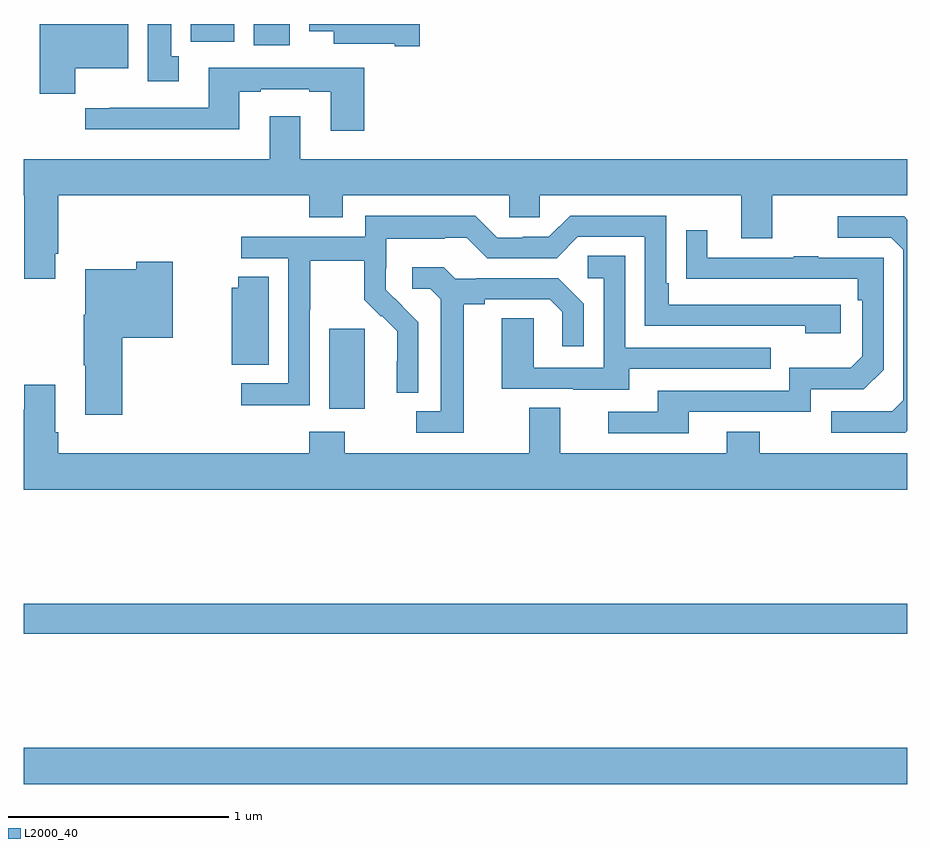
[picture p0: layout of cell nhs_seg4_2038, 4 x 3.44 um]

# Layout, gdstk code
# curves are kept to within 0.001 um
import gdstk
lib = gdstk.Library(unit=1e-6, precision=1e-09)
def R(c, l, rs):  # rectangles x0, y0, x1, y1
    for r in rs: c.add(gdstk.rectangle(r[:2], r[2:], *l))
def P(c, l, *ps):  # polygons
    for p in ps: c.add(gdstk.Polygon(p, *l))
L2000_40 = (2000, 40)

nhs_seg4_2038 = lib.new_cell('nhs_seg4_2038')
R(nhs_seg4_2038, L2000_40, [(215,823.46,219,823.624), (215,824.14,219,824.276), (216.383,825.159,216.544,825.52), (216.041,826.803,216.205,826.9), (215.756,826.82,215.953,826.9)])
P(nhs_seg4_2038, L2000_40, [(216.793,826.9),(216.293,826.9),(216.293,826.868),(216.404,826.868),(216.404,826.811),(216.68,826.811),(216.68,826.799),(216.793,826.799)],
  [(215.701,826.754),(215.668,826.754),(215.668,826.9),(215.561,826.9),(215.561,826.641),(215.701,826.641)],
  [(215.233,826.7),(215.473,826.7),(215.473,826.9),(215.072,826.9),(215.072,826.585),(215.233,826.585)],
  [(216.542,826.701),(215.837,826.701),(215.837,826.521),(215.389,826.521),(215.389,826.519),(215.28,826.519),(215.28,826.424),(215.977,826.424),(215.977,826.593),(216.073,826.593),(216.073,826.605),(216.293,826.605),(216.293,826.593),(216.389,826.593),(216.389,826.416),(216.542,826.416)],
  [(215.143,825.859),(215.156,825.859),(215.156,826.124),(216.293,826.124),(216.293,826.025),(216.445,826.025),(216.445,826.124),(217.197,826.124),(217.197,826.026),(217.335,826.026),(217.335,826.124),(218.249,826.124),(218.249,825.93),(218.389,825.93),(218.389,826.124),(219,826.124),(219,826.288),(216.253,826.288),(216.253,826.483),(216.113,826.483),(216.113,826.288),(215,826.288),(215,826.124),(215.003,826.124),(215.003,825.747),(215.143,825.747)],
  [(216.294,825.607),(216.297,825.607),(216.297,825.828),(216.541,825.828),(216.541,825.653),(216.618,825.576),(216.621,825.579),(216.692,825.509),(216.692,825.374),(216.689,825.374),(216.689,825.232),(216.786,825.232),(216.786,825.55),(216.64,825.698),(216.64,825.795),(216.642,825.795),(216.642,825.929),(216.905,825.929),(216.905,825.933),(217.005,825.933),(217.098,825.84),(217.413,825.84),(217.509,825.936),(217.812,825.936),(217.812,825.534),(218.537,825.534),(218.537,825.5),(218.698,825.5),(218.698,825.63),(217.921,825.63),(217.921,825.727),(217.908,825.727),(217.908,826.032),(217.473,826.032),(217.377,825.936),(217.259,825.936),(217.259,825.933),(217.143,825.933),(217.043,826.033),(216.546,826.033),(216.546,825.936),(215.985,825.936),(215.985,825.84),(216.198,825.84),(216.198,825.273),(215.985,825.273),(215.985,825.175),(216.294,825.175)],
  [(219,825.06),(219,826.014),(218.985,826.029),(218.685,826.029),(218.685,825.933),(218.928,825.933),(218.982,825.879),(218.982,825.198),(218.931,825.147),(218.655,825.147),(218.655,825.051),(218.991,825.051)],
  [(218.011,825.144),(218.562,825.144),(218.562,825.246),(218.802,825.246),(218.892,825.336),(218.892,825.843),(218.597,825.843),(218.597,825.848),(218.485,825.848),(218.485,825.843),(218.095,825.843),(218.095,825.967),(217.999,825.967),(217.999,825.748),(218.776,825.747),(218.776,825.65),(218.796,825.65),(218.796,825.396),(218.743,825.343),(218.466,825.343),(218.466,825.24),(217.871,825.24),(217.871,825.144),(217.647,825.144),(217.647,825.048),(218.011,825.048)],
  [(217.741,825.339),(218.381,825.339),(218.381,825.435),(217.722,825.435),(217.722,825.851),(217.554,825.851),(217.554,825.75),(217.626,825.75),(217.626,825.345),(217.308,825.345),(217.308,825.569),(217.163,825.569),(217.163,825.249),(217.487,825.249),(217.487,825.245),(217.741,825.245)],
  [(215.447,825.479),(215.674,825.479),(215.674,825.823),(215.509,825.823),(215.509,825.79),(215.279,825.79),(215.279,825.583),(215.272,825.583),(215.272,825.355),(215.279,825.355),(215.279,825.132),(215.447,825.132)],
  [(216.991,825.632),(217.087,825.632),(217.087,825.654),(217.382,825.654),(217.439,825.597),(217.439,825.441),(217.536,825.441),(217.536,825.634),(217.42,825.75),(217.048,825.75),(217.048,825.747),(216.954,825.747),(216.902,825.799),(216.759,825.799),(216.759,825.702),(216.84,825.702),(216.887,825.655),(216.887,825.147),(216.777,825.147),(216.777,825.051),(216.991,825.051)],
  [(216.109,825.755),(215.971,825.755),(215.971,825.706),(215.942,825.706),(215.942,825.358),(216.109,825.358)],
  [(219,824.956),(218.331,824.956),(218.331,825.055),(218.183,825.055),(218.183,824.956),(217.429,824.956),(217.429,825.164),(217.289,825.164),(217.289,824.956),(216.453,824.956),(216.453,825.055),(216.293,825.055),(216.293,824.956),(215.156,824.956),(215.156,825.052),(215.143,825.052),(215.143,825.268),(215.003,825.268),(215.003,825.155),(215,825.155),(215,824.792),(219,824.792)])

lib.write_gds('nhs_seg4_2038.gds')
